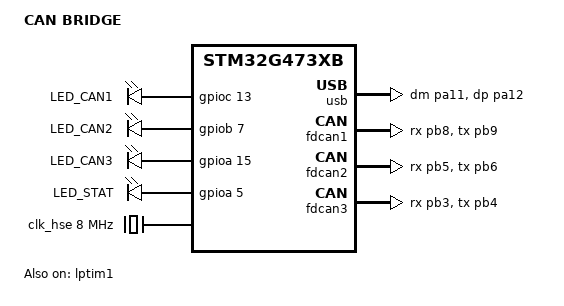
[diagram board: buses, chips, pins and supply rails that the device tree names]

/dts-v1/;
#include <st/g4/stm32g473Xb.dtsi>
#include <st/g4/stm32g473c(b-c-e)tx-pinctrl.dtsi>

/ {
	model = "CAN BRIDGE";
	compatible = "canBridge_Oleksii,canBridge_Oleksii_g473";

	chosen {
		zephyr,sram = &sram0;
		zephyr,flash = &flash0;
		zephyr,canbus = &fdcan1;
	};

	aliases {
		led0 = &led_can1;
		led1 = &led_can2;
		led2 = &led_can3;
		led3 = &led_stat;
		
	};

	leds: leds {
		compatible = "gpio-leds";

		led_can1: led_can1 {
			gpios = <&gpioc 13 GPIO_ACTIVE_HIGH>;
			label = "LED_CAN1";
		};

		led_can2: led_can2 {
			gpios = <&gpiob 7 GPIO_ACTIVE_HIGH>;
			label = "LED_CAN2";
		};
		led_can3: led_can3 {
			gpios = <&gpioa 15 GPIO_ACTIVE_HIGH>;
			label = "LED_CAN3";
		};

		led_stat: led_stat {
			gpios = <&gpioa 5 GPIO_ACTIVE_HIGH>;
			label = "LED_STAT";
		};			
	};
};

/*
&clk_hsi {          // Internal 16 MHz clock used to drive PLL 
	status = "okay";
};
*/

&clk_hse {
	clock-frequency = <DT_FREQ_M(8)>; /* HSE 8 Mhz */
	status = "okay";
};


&clk_hsi48 {
	/* Internal 48 MHz clock used to drive USB */
	status = "okay";
};

/* Adjust the pll for a SYSTEM Clock of 160 MHz  */
&pll {
	div-m = <2>; // 4 16Mhz
	mul-n = <80>;
	div-p = <2>;
	div-q = <4>;
	div-r = <2>;
	clocks = <&clk_hse>;//<&clk_hsi>
	status = "okay";
};

&rcc {
	clocks = <&pll>;
	clock-frequency = <DT_FREQ_M(160)>;
	ahb-prescaler = <1>;
	apb1-prescaler = <1>;
	apb2-prescaler = <1>;
};

stm32_lp_tick_source: &lptim1 {
	clocks = <&rcc STM32_CLOCK(APB1, 31)>,
		 <&rcc STM32_SRC_LSE LPTIM1_SEL(3)>;
	status = "okay";
};

zephyr_udc0: &usb {
	pinctrl-0 = <&usb_dm_pa11 &usb_dp_pa12>;
	pinctrl-names = "default";
	clocks = <&rcc STM32_CLOCK(APB1, 23)>,
		 <&rcc STM32_SRC_HSI48 CLK48_SEL(0)>;
	status = "okay";
};

&fdcan1 {
	pinctrl-0 = <&fdcan1_rx_pb8 &fdcan1_tx_pb9>;
	pinctrl-names = "default";
	clocks = <&rcc STM32_CLOCK(APB1, 25)>,
		 <&rcc STM32_SRC_PLL_Q FDCAN_SEL(1)>;
	status = "okay";
};
&fdcan2 {
	pinctrl-0 = <&fdcan2_rx_pb5 &fdcan2_tx_pb6>;
	pinctrl-names = "default";
	clocks = <&rcc STM32_CLOCK(APB1, 25)>,
		 <&rcc STM32_SRC_PLL_Q FDCAN_SEL(1)>;
	status = "okay";
};
&fdcan3 {
	pinctrl-0 = <&fdcan3_rx_pb3 &fdcan3_tx_pb4>;
	pinctrl-names = "default";
	clocks = <&rcc STM32_CLOCK(APB1, 25)>,
		 <&rcc STM32_SRC_PLL_Q FDCAN_SEL(1)>;
	status = "okay";
};
